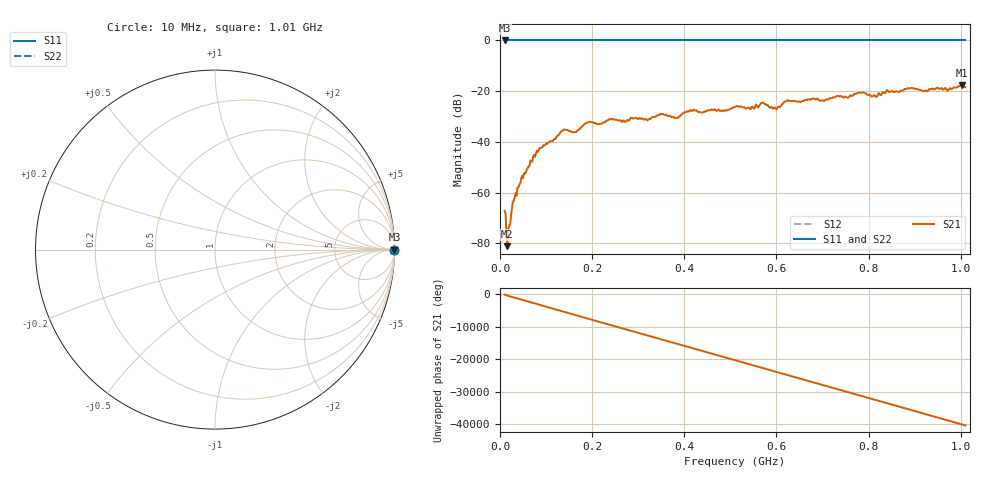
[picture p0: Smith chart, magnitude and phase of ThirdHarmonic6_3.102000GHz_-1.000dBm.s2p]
! 8/17/2025 9:09:21 AM
! C:\ANRITSUVNA\TEMP\TEMP.S2P
! CHANNEL.1
! TR.MEASUREMENT
! RAW.DATA
! RF.CORRECTION.OFF
! AVERAGING.OFF
! IF.BANDWIDTH: 5KHZ
! SWEEPTYPE:  FREQ.SWEEP(Linear)
! Reference Plane Port Info
! PORT:  PORT1  PORT2
! DISTANCE:  0  m  0  m
! TIME:  0  s  0  s
! PHASE.OFFSET:  0  deg.  0  deg.
! LOSS:  0  dB  0  dB
! REF.LOSS:  0  dB  0  dB
! REF.FREQ:  0  Hz  0  Hz
! Power Info
! POWER:  -20  dBm  -20  dBm
! EFF.POWER:  -20  dBm  -20  dBm
! SOURCE.ATTEN:  0  dB  0  dB
! TEST.ATTEN:  0  dB  0  dB
# GHZ S RI R 50.0
! FREQ.GHZ  S11RE  S11IM  S21RE  S21IM  S12RE  S12IM  S22RE  S22IM
!; PortSelection: Port_12
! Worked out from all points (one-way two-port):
!   501 points, 10 MHz to 1.01 GHz, reference 50 ohm
!   highest |S21| = -17.60 dB at 1.002 GHz (marker M1); lowest = -81.1 dB at 16 MHz (marker M2)
!   lowest |S11| = 0.0 dB at 10 MHz (marker M3)
!   |S11| at or under -10 dB: nowhere
!   |S22| runs from 0.0 to 0.0 dB; largest |S21 - S12| = 1.1
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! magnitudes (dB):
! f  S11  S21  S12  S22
! 10 MHz  0.0  -67.2  0.0  0.0
! 16 MHz  0.0  -81.1  0.0  0.0
! 18 MHz  0.0  -74.4  0.0  0.0
! 30 MHz  0.0  -63.1  0.0  0.0
! 42 MHz  0.0  -56.9  0.0  0.0
! 76 MHz  0.0  -45.9  0.0  0.0
! 136 MHz  0.0  -35.6  0.0  0.0
! 162 MHz  0.0  -36.2  0.0  0.0
! 178 MHz  0.0  -33.9  0.0  0.0
! 344 MHz  0.0  -29.5  0.0  0.0
! 382 MHz  0.0  -30.5  0.0  0.0
! 416 MHz  0.0  -27.8  0.0  0.0
! 510 MHz  0.0  -26.2  0.0  0.0
! 570 MHz  0.0  -24.5  0.0  0.0
! 596 MHz  0.0  -26.4  0.0  0.0
! 622 MHz  0.0  -23.9  0.0  0.0
! 678 MHz  0.0  -23.0  0.0  0.0
! 784 MHz  0.0  -20.6  0.0  0.0
! 814 MHz  0.0  -21.8  0.0  0.0
! 844 MHz  0.0  -20.3  0.0  0.0
! 1.002 GHz  0.0  -17.6  0.0  0.0
! 1.01 GHz  0.0  -18.4  0.0  0.0
